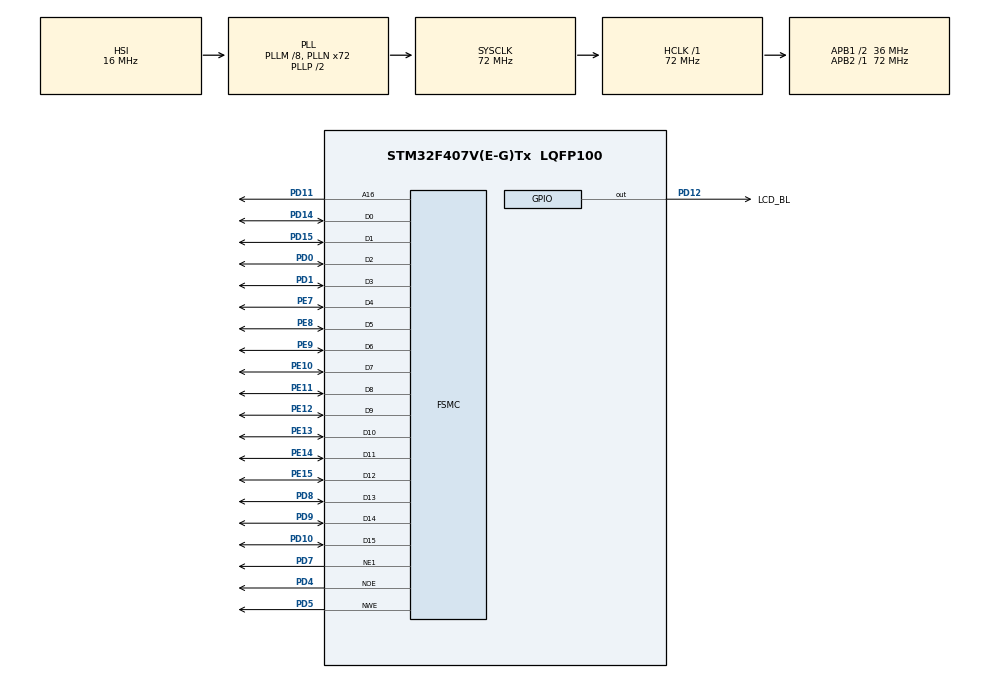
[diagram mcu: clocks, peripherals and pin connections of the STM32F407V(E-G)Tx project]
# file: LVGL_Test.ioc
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FSMC.ExtendedMode1=FSMC_EXTENDED_MODE_ENABLE
Mcu.Family=STM32F4
Mcu.Name=STM32F407V(E-G)Tx
Mcu.Package=LQFP100
NVIC.PriorityGroup=NVIC_PRIORITYGROUP_4
NVIC.TIM6_DAC_IRQn=true\:0\:0\:false\:false\:true\:true\:true
PA13.Mode=Serial_Wire
PA13.Signal=SYS_JTMS-SWDIO
PA14.Mode=Serial_Wire
PA14.Signal=SYS_JTCK-SWCLK
PD0.Mode=16b-d1
PD0.Signal=FSMC_D2
PD1.Mode=16b-d1
PD1.Signal=FSMC_D3
PD10.Mode=16b-d1
PD10.Signal=FSMC_D15
PD11.Mode=A16_1
PD11.Signal=FSMC_A16
PD12.GPIO_Label=LCD_BL
PD12.Signal=GPIO_Output
PD14.Mode=16b-d1
PD14.Signal=FSMC_D0
PD15.Mode=16b-d1
PD15.Signal=FSMC_D1
PD4.Mode=Lcd1
PD4.Signal=FSMC_NOE
PD5.Mode=Lcd1
PD5.Signal=FSMC_NWE
PD7.Mode=NorPsramChipSelect1_1
PD7.Signal=FSMC_NE1
PD8.Mode=16b-d1
PD8.Signal=FSMC_D13
PD9.Mode=16b-d1
PD9.Signal=FSMC_D14
PE10.Mode=16b-d1
PE10.Signal=FSMC_D7
PE11.Mode=16b-d1
PE11.Signal=FSMC_D8
PE12.Mode=16b-d1
PE12.Signal=FSMC_D9
PE13.Mode=16b-d1
PE13.Signal=FSMC_D10
PE14.Mode=16b-d1
PE14.Signal=FSMC_D11
PE15.Mode=16b-d1
PE15.Signal=FSMC_D12
PE7.Mode=16b-d1
PE7.Signal=FSMC_D4
PE8.Mode=16b-d1
PE8.Signal=FSMC_D5
PE9.Mode=16b-d1
PE9.Signal=FSMC_D6
PH0-OSC_IN.Mode=HSE-External-Oscillator
PH0-OSC_IN.Signal=RCC_OSC_IN
PH1-OSC_OUT.Mode=HSE-External-Oscillator
PH1-OSC_OUT.Signal=RCC_OSC_OUT
ProjectManager.HeapSize=0x200
ProjectManager.StackSize=0x1000
ProjectManager.TargetToolchain=MDK-ARM V5
RCC.48MHZClocksFreq_Value=36000000
RCC.AHBFreq_Value=72000000
RCC.APB1CLKDivider=RCC_HCLK_DIV2
RCC.APB1Freq_Value=36000000
RCC.APB1TimFreq_Value=72000000
RCC.APB2Freq_Value=72000000
RCC.APB2TimFreq_Value=72000000
RCC.CortexFreq_Value=72000000
RCC.HCLKFreq_Value=72000000
RCC.HSE_VALUE=25000000
RCC.HSI_VALUE=16000000
RCC.LSE_VALUE=32768
RCC.PLLM=8
RCC.PLLN=72
RCC.SYSCLKFreq_VALUE=72000000
RCC.SYSCLKSource=RCC_SYSCLKSOURCE_PLLCLK
RCC.VCOOutputFreq_Value=144000000
TIM6.AutoReloadPreload=TIM_AUTORELOAD_PRELOAD_ENABLE
TIM6.Period=1000-1
TIM6.Prescaler=72-1
VP_TIM6_VS_ClockSourceINT.Mode=Enable_Timer
board=custom

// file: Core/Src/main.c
/* USER CODE BEGIN Header */
/**
  ******************************************************************************
  * @file           : main.c
  * @brief          : Main program body
  ******************************************************************************
  * @attention
  *
  * Copyright (c) 2025 STMicroelectronics.
  * All rights reserved.
  *
  * This software is licensed under terms that can be found in the LICENSE file
  * in the root directory of this software component.
  * If no LICENSE file comes with this software, it is provided AS-IS.
  *
  ******************************************************************************
  */
/* USER CODE END Header */
#include "main.h"
#include "tim.h"
#include "gpio.h"
#include "fsmc.h"
#include "lcd.h"

void SystemClock_Config(void);

int main(void)
{
  /* USER CODE BEGIN 1 */
  uint8_t x=0;
  uint8_t lcd_id[12];				//存放LCD ID字符串
  /* USER CODE END 1 */

  /* MCU Configuration--------------------------------------------------------*/

  /* Reset of all peripherals, Initializes the Flash interface and the Systick. */
  HAL_Init();

  /* USER CODE BEGIN Init */
  LCD_Init();           //初始化LCD FSMC接口
  POINT_COLOR=RED;      //画笔颜色：红色
  /* USER CODE END Init */

  /* Configure the system clock */
  SystemClock_Config();

  /* Initialize all configured peripherals */
  MX_GPIO_Init();
  MX_TIM6_Init();
  // MX_FSMC_Init();

  /* Infinite loop */
  while (1)
  {

    /* USER CODE BEGIN 3 */
	    switch(x)
		{
			case 0:LCD_Clear(WHITE);break;
			case 1:LCD_Clear(BLACK);break;
			case 2:LCD_Clear(BLUE);break;
			case 3:LCD_Clear(RED);break;
			case 4:LCD_Clear(MAGENTA);break;
			case 5:LCD_Clear(GREEN);break;
			case 6:LCD_Clear(CYAN);break;
			case 7:LCD_Clear(YELLOW);break;
			case 8:LCD_Clear(BRRED);break;
			case 9:LCD_Clear(GRAY);break;
			case 10:LCD_Clear(LGRAY);break;
			case 11:LCD_Clear(BROWN);break;
		}
		POINT_COLOR=RED;
		LCD_ShowString(30,40,210,24,24,"STM32F4 ARM-M4");
		LCD_ShowString(30,70,200,16,16,"FSMC TFTLCD TEST");
		LCD_ShowString(30,90,200,16,16,"Three blue whales");
 		LCD_ShowString(30,110,200,16,16,lcd_id);		//显示LCD ID
		LCD_ShowString(30,130,200,12,12,"2012/5/18");
        LCD_ShowString(30,250,210,24,24,"chinanuedc");
        LCD_ShowString(30,280,210,24,24,"taobao.com");
	    x++;
		if(x==12)x=0;
		//HAL_GPIO_TogglePin(LCD_BL_GPIO_Port, LCD_BL_Pin);
		//HAL_Delay(1000);
		delay_us(1000000);
  }
  /* USER CODE END 3 */
}

void SystemClock_Config(void)
{
  RCC_OscInitTypeDef RCC_OscInitStruct = {0};
  RCC_ClkInitTypeDef RCC_ClkInitStruct = {0};

  /** Configure the main internal regulator output voltage
  */
  __HAL_RCC_PWR_CLK_ENABLE();
  __HAL_PWR_VOLTAGESCALING_CONFIG(PWR_REGULATOR_VOLTAGE_SCALE1);
  /** Initializes the RCC Oscillators according to the specified parameters
  * in the RCC_OscInitTypeDef structure.
  */
  RCC_OscInitStruct.OscillatorType = RCC_OSCILLATORTYPE_HSI;
  RCC_OscInitStruct.HSIState = RCC_HSI_ON;
  RCC_OscInitStruct.HSICalibrationValue = RCC_HSICALIBRATION_DEFAULT;
  RCC_OscInitStruct.PLL.PLLState = RCC_PLL_ON;
  RCC_OscInitStruct.PLL.PLLSource = RCC_PLLSOURCE_HSI;
  RCC_OscInitStruct.PLL.PLLM = 8;
  RCC_OscInitStruct.PLL.PLLN = 72;
  RCC_OscInitStruct.PLL.PLLP = RCC_PLLP_DIV2;
  RCC_OscInitStruct.PLL.PLLQ = 4;
  if (HAL_RCC_OscConfig(&RCC_OscInitStruct) != HAL_OK)
  {
    Error_Handler();
  }
  /** Initializes the CPU, AHB and APB buses clocks
  */
  RCC_ClkInitStruct.ClockType = RCC_CLOCKTYPE_HCLK|RCC_CLOCKTYPE_SYSCLK
                              |RCC_CLOCKTYPE_PCLK1|RCC_CLOCKTYPE_PCLK2;
  RCC_ClkInitStruct.SYSCLKSource = RCC_SYSCLKSOURCE_PLLCLK;
  RCC_ClkInitStruct.AHBCLKDivider = RCC_SYSCLK_DIV1;
  RCC_ClkInitStruct.APB1CLKDivider = RCC_HCLK_DIV2;
  RCC_ClkInitStruct.APB2CLKDivider = RCC_HCLK_DIV1;

  if (HAL_RCC_ClockConfig(&RCC_ClkInitStruct, FLASH_LATENCY_2) != HAL_OK)
  {
    Error_Handler();
  }
}

void Error_Handler(void)
{
  __disable_irq();
  while (1)
  {
  }
}
